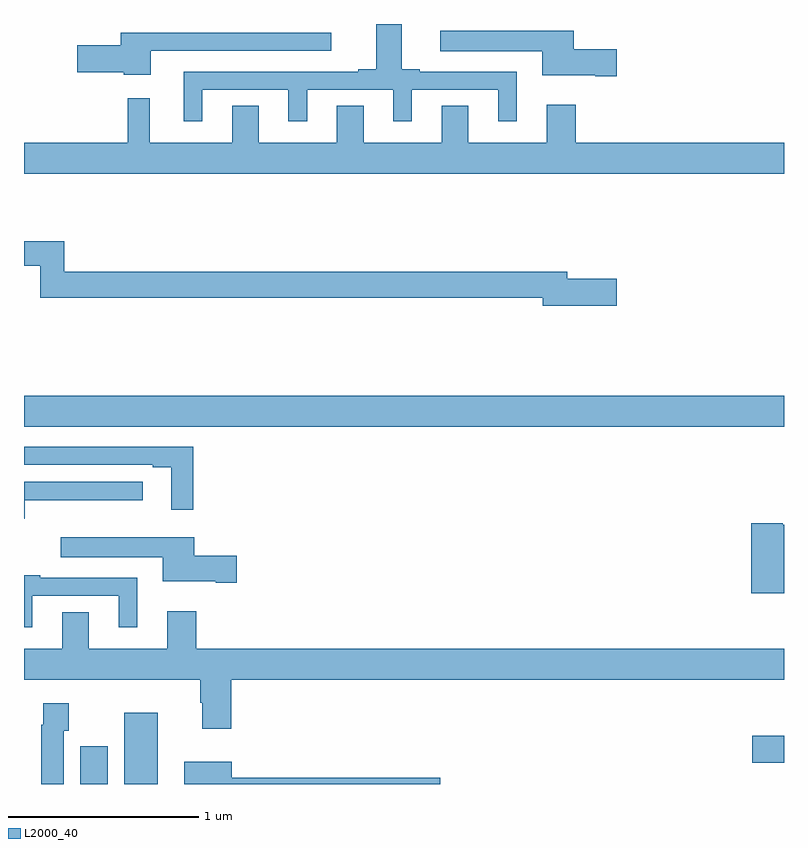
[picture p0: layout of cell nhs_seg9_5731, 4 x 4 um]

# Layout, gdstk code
import gdstk
lib = gdstk.Library(unit=1e-6, precision=1e-09)
def R(c, l, rs):  # rectangles x0, y0, x1, y1
    for r in rs: c.add(gdstk.rectangle(r[:2], r[2:], *l))
def P(c, l, *ps):  # polygons
    for p in ps: c.add(gdstk.Polygon(p, *l))
L2000_40 = (2000, 40)

nhs_seg9_5731 = lib.new_cell('nhs_seg9_5731')
R(nhs_seg9_5731, L2000_40, [(443.297,1234.5,443.44,1234.699), (443.528,1234.5,443.704,1234.876), (446.832,1234.613,447,1234.755), (443,1236.38,447,1236.544)])
P(nhs_seg9_5731, L2000_40, [(443.938,1238.154),(444.392,1238.154),(444.392,1237.989),(444.49,1237.989),(444.49,1238.154),(444.944,1238.154),(444.944,1237.989),(445.042,1237.989),(445.042,1238.154),(445.496,1238.154),(445.496,1237.989),(445.594,1237.989),(445.594,1238.25),(445.084,1238.25),(445.084,1238.263),(444.988,1238.263),(444.988,1238.5),(444.854,1238.5),(444.854,1238.263),(444.758,1238.263),(444.758,1238.25),(443.84,1238.25),(443.84,1237.989),(443.938,1237.989)],
  [(446.119,1238.366),(445.894,1238.366),(445.894,1238.464),(445.191,1238.464),(445.191,1238.357),(445.727,1238.357),(445.727,1238.231),(446.006,1238.231),(446.006,1238.224),(446.119,1238.224)],
  [(443.668,1238.358),(444.616,1238.358),(444.616,1238.455),(443.51,1238.455),(443.51,1238.387),(443.28,1238.387),(443.28,1238.245),(443.526,1238.245),(443.526,1238.234),(443.668,1238.234)],
  [(447,1237.876),(445.904,1237.876),(445.904,1238.074),(445.751,1238.074),(445.751,1237.876),(445.339,1237.876),(445.339,1238.069),(445.199,1238.069),(445.199,1237.876),(444.787,1237.876),(444.787,1238.069),(444.647,1238.069),(444.647,1237.876),(444.235,1237.876),(444.235,1238.069),(444.095,1238.069),(444.095,1237.876),(443.663,1237.876),(443.663,1238.11),(443.545,1238.11),(443.545,1237.876),(443,1237.876),(443,1237.712),(447,1237.712)],
  [(446.119,1237.16),(445.858,1237.16),(445.858,1237.196),(443.213,1237.196),(443.213,1237.357),(443,1237.357),(443,1237.228),(443.085,1237.228),(443.085,1237.06),(445.73,1237.06),(445.73,1237.018),(446.119,1237.018)],
  [(443.891,1236.276),(443,1236.276),(443,1236.18),(443.678,1236.18),(443.678,1236.168),(443.774,1236.168),(443.774,1235.943),(443.891,1235.943)],
  [(443.003,1235.993),(443.626,1235.993),(443.626,1236.09),(443,1236.09),(443,1235.897),(443.003,1235.897)],
  [(447,1235.864),(446.994,1235.864),(446.994,1235.872),(446.828,1235.872),(446.828,1235.505),(447,1235.505)],
  [(444.121,1235.702),(443.896,1235.702),(443.896,1235.8),(443.193,1235.8),(443.193,1235.693),(443.729,1235.693),(443.729,1235.567),(444.008,1235.567),(444.008,1235.56),(444.121,1235.56)],
  [(443.044,1235.49),(443.498,1235.49),(443.498,1235.325),(443.596,1235.325),(443.596,1235.586),(443.086,1235.586),(443.086,1235.599),(443,1235.599),(443,1235.325),(443.044,1235.325)],
  [(444.092,1235.048),(447,1235.048),(447,1235.212),(443.906,1235.212),(443.906,1235.41),(443.753,1235.41),(443.753,1235.212),(443.341,1235.212),(443.341,1235.405),(443.201,1235.405),(443.201,1235.212),(443,1235.212),(443,1235.048),(443.927,1235.048),(443.927,1234.928),(443.939,1234.928),(443.939,1234.791),(444.092,1234.791)],
  [(443.208,1234.779),(443.235,1234.779),(443.235,1234.924),(443.1,1234.924),(443.1,1234.811),(443.092,1234.811),(443.092,1234.5),(443.208,1234.5)],
  [(445.192,1234.532),(444.094,1234.532),(444.094,1234.618),(443.843,1234.618),(443.843,1234.5),(445.192,1234.5)])

lib.write_gds('nhs_seg9_5731.gds')
